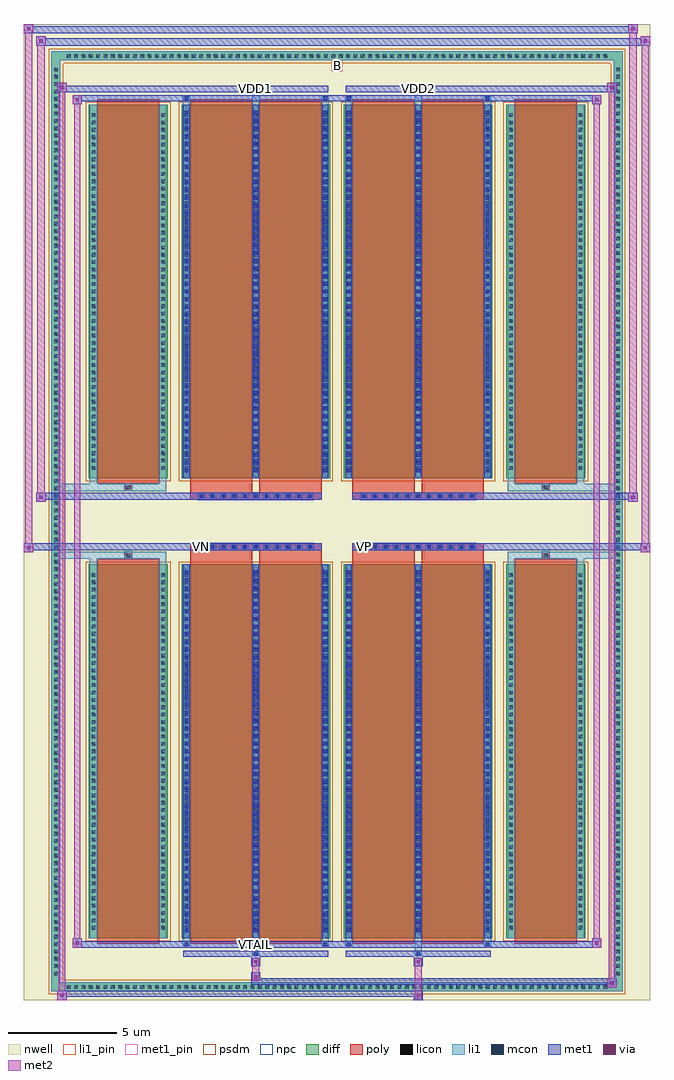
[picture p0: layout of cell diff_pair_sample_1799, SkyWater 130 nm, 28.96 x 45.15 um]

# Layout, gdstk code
import gdstk
lib = gdstk.Library(unit=1e-6, precision=5e-09)
def R(c, l, rs):  # rectangles x0, y0, x1, y1
    for r in rs: c.add(gdstk.rectangle(r[:2], r[2:], *l))
def A(c, l, x, y, w, h, nx, ny, dx, dy):  # array of equal rectangles
    R(c, l, [(x+i*dx, y+j*dy, x+i*dx+w, y+j*dy+h) for i in range(nx) for j in range(ny)])
def P(c, l, *ps):  # polygons
    for p in ps: c.add(gdstk.Polygon(p, *l))
nwell = (64, 20)
diff = (65, 20)
poly = (66, 20)
licon = (66, 44)
li1_pin = (67, 16)
li1 = (67, 20)
mcon = (67, 44)
met1_pin = (68, 16)
met1 = (68, 20)
via = (68, 44)
met2 = (69, 20)
psdm = (94, 20)
npc = (95, 20)

diff_pair_sample_1799 = lib.new_cell('diff_pair_sample_1799')
R(diff_pair_sample_1799, nwell, [(-14.48,-22.14,14.48,23.01), (-11.8,-20.33,-0.01,-0.805), (0.01,-20.33,11.8,-0.805), (-11.8,0.805,-0.01,20.33), (0.01,0.805,11.8,20.33)])
A(diff_pair_sample_1799, diff, -12.615, -21.74, 0.41, 0.41, 74, 2, 0.34, 43.07)
A(diff_pair_sample_1799, diff, -13.21, -21.115, 0.41, 0.41, 1, 124, 0, 0.34)
A(diff_pair_sample_1799, diff, 12.8, -21.115, 0.41, 0.41, 1, 124, 0, 0.34)
R(diff_pair_sample_1799, diff, [(-12.615,-21.74,12.615,-21.33), (-13.21,-21.115,-12.8,21.115), (12.8,-21.115,13.21,21.115), (-11.49,-19.285,-7.83,-1.985), (-7.19,-19.285,-0.32,-1.985), (0.32,-19.285,7.19,-1.985), (7.83,-19.285,11.49,-1.985), (-11.49,1.985,-7.83,19.285), (-7.19,1.985,-0.32,19.285), (0.32,1.985,7.19,19.285), (7.83,1.985,11.49,19.285), (-12.615,21.33,12.615,21.74)])
P(diff_pair_sample_1799, diff, [(13.21,21.74),(-13.21,21.74),(-13.21,-21.33),(-12.8,-21.33),(-12.8,21.33),(12.8,21.33),(12.8,-21.33),(-12.8,-21.33),(-13.21,-21.33),(-13.21,-21.74),(13.21,-21.74)])
A(diff_pair_sample_1799, poly, -6.42, -1.335, 0.33, 0.33, 11, 2, 0.5, 2.34)
A(diff_pair_sample_1799, poly, 1.09, -1.335, 0.33, 0.33, 11, 2, 0.5, 2.34)
R(diff_pair_sample_1799, poly, [(-11.1,-19.535,-8.22,-1.735), (-6.8,-19.535,-3.92,-1.735), (-3.59,-19.535,-0.71,-1.735), (0.71,-19.535,3.59,-1.735), (3.92,-19.535,6.8,-1.735), (8.22,-19.535,11.1,-1.735), (-9.825,-1.735,-9.495,-1.405), (-9.825,-1.735,-9.495,-1.405), (-6.8,-1.735,-3.92,-1.335), (-3.59,-1.735,-0.71,-1.335), (0.71,-1.735,3.59,-1.335), (3.92,-1.735,6.8,-1.335), (9.495,-1.735,9.825,-1.405), (9.495,-1.735,9.825,-1.405), (-6.8,-1.335,-0.71,-1.005), (0.71,-1.335,6.8,-1.005), (-6.8,1.005,-0.71,1.335), (0.71,1.005,6.8,1.335), (-6.8,1.335,-3.92,1.735), (-3.59,1.335,-0.71,1.735), (0.71,1.335,3.59,1.735), (3.92,1.335,6.8,1.735), (-9.825,1.405,-9.495,1.735), (-9.825,1.405,-9.495,1.735), (9.495,1.405,9.825,1.735), (9.495,1.405,9.825,1.735), (-11.1,1.735,-8.22,19.535), (-6.8,1.735,-3.92,19.535), (-3.59,1.735,-0.71,19.535), (0.71,1.735,3.59,19.535), (3.92,1.735,6.8,19.535), (8.22,1.735,11.1,19.535)])
A(diff_pair_sample_1799, licon, -12.495, -21.62, 0.17, 0.17, 74, 2, 0.34, 43.07)
A(diff_pair_sample_1799, licon, -13.09, -20.995, 0.17, 0.17, 1, 124, 0, 0.34)
A(diff_pair_sample_1799, licon, 12.92, -20.995, 0.17, 0.17, 1, 124, 0, 0.34)
A(diff_pair_sample_1799, licon, -11.35, -18.88, 0.17, 0.17, 1, 49, 0, 0.34)
A(diff_pair_sample_1799, licon, -8.14, -18.88, 0.17, 0.17, 1, 49, 0, 0.34)
A(diff_pair_sample_1799, licon, -7.05, -18.88, 0.17, 0.17, 3, 49, 3.21, 0.34)
A(diff_pair_sample_1799, licon, 0.46, -18.88, 0.17, 0.17, 3, 49, 3.21, 0.34)
A(diff_pair_sample_1799, licon, 7.97, -18.88, 0.17, 0.17, 1, 49, 0, 0.34)
A(diff_pair_sample_1799, licon, 11.18, -18.88, 0.17, 0.17, 1, 49, 0, 0.34)
A(diff_pair_sample_1799, licon, -6.34, -1.255, 0.17, 0.17, 11, 2, 0.5, 2.34)
A(diff_pair_sample_1799, licon, 1.17, -1.255, 0.17, 0.17, 11, 2, 0.5, 2.34)
A(diff_pair_sample_1799, licon, -11.35, 2.39, 0.17, 0.17, 1, 49, 0, 0.34)
A(diff_pair_sample_1799, licon, -8.14, 2.39, 0.17, 0.17, 1, 49, 0, 0.34)
A(diff_pair_sample_1799, licon, -7.05, 2.39, 0.17, 0.17, 3, 49, 3.21, 0.34)
A(diff_pair_sample_1799, licon, 0.46, 2.39, 0.17, 0.17, 3, 49, 3.21, 0.34)
A(diff_pair_sample_1799, licon, 7.97, 2.39, 0.17, 0.17, 1, 49, 0, 0.34)
A(diff_pair_sample_1799, licon, 11.18, 2.39, 0.17, 0.17, 1, 49, 0, 0.34)
R(diff_pair_sample_1799, licon, [(-9.745,-1.655,-9.575,-1.485), (9.575,-1.655,9.745,-1.485), (-9.745,1.485,-9.575,1.655), (9.575,1.485,9.745,1.655)])
R(diff_pair_sample_1799, li1_pin, [(-0.25,20.83,0.25,21.33)])
A(diff_pair_sample_1799, li1, -12.575, -21.7, 0.33, 0.33, 74, 2, 0.34, 43.07)
A(diff_pair_sample_1799, li1, -13.17, -21.075, 0.33, 0.33, 1, 124, 0, 0.34)
A(diff_pair_sample_1799, li1, 12.84, -21.075, 0.33, 0.33, 1, 124, 0, 0.34)
A(diff_pair_sample_1799, li1, -7.13, -19.285, 0.33, 17.3, 3, 2, 3.21, 21.27)
A(diff_pair_sample_1799, li1, 0.38, -19.285, 0.33, 17.3, 3, 2, 3.21, 21.27)
A(diff_pair_sample_1799, li1, -7.05, -19, 0.17, 0.17, 3, 47, 3.21, 0.36)
A(diff_pair_sample_1799, li1, -7.05, -19, 0.17, 16.73, 3, 2, 3.21, 21.27)
A(diff_pair_sample_1799, li1, 0.46, -19, 0.17, 0.17, 3, 47, 3.21, 0.36)
A(diff_pair_sample_1799, li1, 0.46, -19, 0.17, 16.73, 3, 2, 3.21, 21.27)
A(diff_pair_sample_1799, li1, -11.43, -18.96, 0.33, 0.33, 1, 49, 0, 0.34)
A(diff_pair_sample_1799, li1, -8.22, -18.96, 0.33, 0.33, 1, 49, 0, 0.34)
A(diff_pair_sample_1799, li1, -7.13, -18.96, 0.33, 0.33, 3, 49, 3.21, 0.34)
A(diff_pair_sample_1799, li1, 0.38, -18.96, 0.33, 0.33, 3, 49, 3.21, 0.34)
A(diff_pair_sample_1799, li1, 7.89, -18.96, 0.33, 0.33, 1, 49, 0, 0.34)
A(diff_pair_sample_1799, li1, 11.1, -18.96, 0.33, 0.33, 1, 49, 0, 0.34)
A(diff_pair_sample_1799, li1, -6.42, -1.335, 0.33, 0.33, 11, 2, 0.5, 2.34)
A(diff_pair_sample_1799, li1, 1.09, -1.335, 0.33, 0.33, 11, 2, 0.5, 2.34)
A(diff_pair_sample_1799, li1, -7.05, 2.27, 0.17, 0.17, 3, 47, 3.21, 0.36)
A(diff_pair_sample_1799, li1, 0.46, 2.27, 0.17, 0.17, 3, 47, 3.21, 0.36)
A(diff_pair_sample_1799, li1, -11.43, 2.31, 0.33, 0.33, 1, 49, 0, 0.34)
A(diff_pair_sample_1799, li1, -8.22, 2.31, 0.33, 0.33, 1, 49, 0, 0.34)
A(diff_pair_sample_1799, li1, -7.13, 2.31, 0.33, 0.33, 3, 49, 3.21, 0.34)
A(diff_pair_sample_1799, li1, 0.38, 2.31, 0.33, 0.33, 3, 49, 3.21, 0.34)
A(diff_pair_sample_1799, li1, 7.89, 2.31, 0.33, 0.33, 1, 49, 0, 0.34)
A(diff_pair_sample_1799, li1, 11.1, 2.31, 0.33, 0.33, 1, 49, 0, 0.34)
R(diff_pair_sample_1799, li1, [(-13.21,-21.74,-12.8,-21.33), (-13.21,-21.74,-12.8,-21.33), (-12.8,-21.74,12.8,-21.33), (12.8,-21.74,13.21,-21.33), (12.8,-21.74,13.21,-21.33), (-13.21,-21.33,-12.8,21.33), (12.8,-21.33,13.21,21.33), (-3.92,-20.09,-3.59,-19.285), (-3.84,-20.09,-3.67,-19.92), (3.59,-20.09,3.92,-19.285), (3.67,-20.09,3.84,-19.92), (-7.13,-19.66,-6.8,-19.285), (-7.05,-19.66,-6.88,-19.49), (-0.71,-19.66,-0.38,-19.285), (-0.63,-19.66,-0.46,-19.49), (0.38,-19.66,0.71,-19.285), (0.46,-19.66,0.63,-19.49), (6.8,-19.66,7.13,-19.285), (6.88,-19.66,7.05,-19.49), (-11.43,-19.285,-11.1,-1.985), (-8.22,-19.285,-7.89,-1.985), (7.89,-19.285,8.22,-1.985), (11.1,-19.285,11.43,-1.985), (-11.43,-1.985,-11.1,-1.405), (-8.22,-1.985,-7.89,-1.405), (7.89,-1.985,8.22,-1.405), (11.1,-1.985,11.43,-1.405), (-13.21,-1.735,-9.825,-1.405), (-11.43,-1.735,-9.825,-1.405), (-9.825,-1.735,-9.495,-1.405), (-9.495,-1.735,-7.89,-1.405), (7.89,-1.735,9.495,-1.405), (9.495,-1.735,9.825,-1.405), (9.495,-1.735,13.21,-1.405), (9.825,-1.735,11.43,-1.405), (-13.21,1.405,-9.825,1.735), (-11.43,1.405,-9.825,1.735), (-11.43,1.405,-11.1,1.985), (-9.825,1.405,-9.495,1.735), (-9.495,1.405,-7.89,1.735), (-8.22,1.405,-7.89,1.985), (7.89,1.405,9.495,1.735), (7.89,1.405,8.22,1.985), (9.495,1.405,9.825,1.735), (9.495,1.405,13.21,1.735), (9.825,1.405,11.43,1.735), (11.1,1.405,11.43,1.985), (-11.43,1.985,-11.1,19.285), (-8.22,1.985,-7.89,19.285), (7.89,1.985,8.22,19.285), (11.1,1.985,11.43,19.285), (-7.13,19.285,-6.8,19.66), (-3.92,19.285,-3.59,20.09), (-0.71,19.285,-0.38,19.66), (0.38,19.285,0.71,19.66), (3.59,19.285,3.92,20.09), (6.8,19.285,7.13,19.66), (-7.05,19.49,-6.88,19.66), (-0.63,19.49,-0.46,19.66), (0.46,19.49,0.63,19.66), (6.88,19.49,7.05,19.66), (-3.84,19.92,-3.67,20.09), (3.67,19.92,3.84,20.09), (-13.21,21.33,-12.8,21.74), (-13.21,21.33,-12.8,21.74), (-12.8,21.33,12.8,21.74), (12.8,21.33,13.21,21.74), (12.8,21.33,13.21,21.74)])
A(diff_pair_sample_1799, mcon, -7.05, -19, 0.17, 0.17, 3, 47, 3.21, 0.36)
A(diff_pair_sample_1799, mcon, 0.46, -19, 0.17, 0.17, 3, 47, 3.21, 0.36)
A(diff_pair_sample_1799, mcon, -6.34, -1.255, 0.17, 0.17, 11, 2, 0.5, 2.34)
A(diff_pair_sample_1799, mcon, 1.17, -1.255, 0.17, 0.17, 11, 2, 0.5, 2.34)
A(diff_pair_sample_1799, mcon, -7.05, 2.27, 0.17, 0.17, 3, 47, 3.21, 0.36)
A(diff_pair_sample_1799, mcon, 0.46, 2.27, 0.17, 0.17, 3, 47, 3.21, 0.36)
R(diff_pair_sample_1799, mcon, [(-3.84,-20.09,-3.67,-19.92), (3.67,-20.09,3.84,-19.92), (-7.05,-19.66,-6.88,-19.49), (-0.63,-19.66,-0.46,-19.49), (0.46,-19.66,0.63,-19.49), (6.88,-19.66,7.05,-19.49), (-7.05,19.49,-6.88,19.66), (-0.63,19.49,-0.46,19.66), (0.46,19.49,0.63,19.66), (6.88,19.49,7.05,19.66), (-3.84,19.92,-3.67,20.09), (3.67,19.92,3.84,20.09)])
R(diff_pair_sample_1799, met1_pin, [(-3.89,-19.7,-3.62,-19.43), (-6.39,-1.295,-6.12,-1.025), (1.12,-1.295,1.39,-1.025), (-3.89,19.88,-3.62,20.15), (3.62,19.88,3.89,20.15)])
A(diff_pair_sample_1799, met1, -7.11, -19.285, 0.29, 17.3, 3, 2, 3.21, 21.27)
A(diff_pair_sample_1799, met1, 0.4, -19.285, 0.29, 17.3, 3, 2, 3.21, 21.27)
A(diff_pair_sample_1799, met1, -7.11, -19.06, 0.29, 0.29, 3, 47, 3.21, 0.36)
A(diff_pair_sample_1799, met1, 0.4, -19.06, 0.29, 0.29, 3, 47, 3.21, 0.36)
A(diff_pair_sample_1799, met1, -6.4, -1.315, 0.29, 0.29, 11, 2, 0.5, 2.34)
A(diff_pair_sample_1799, met1, 1.11, -1.315, 0.29, 0.29, 11, 2, 0.5, 2.34)
A(diff_pair_sample_1799, met1, -7.11, 2.21, 0.29, 0.29, 3, 47, 3.21, 0.36)
A(diff_pair_sample_1799, met1, 0.4, 2.21, 0.29, 0.29, 3, 47, 3.21, 0.36)
R(diff_pair_sample_1799, met1, [(-12.94,-22.14,-12.51,-21.71), (3.54,-22.14,3.97,-21.71), (-12.94,-22,3.97,-21.71), (12.51,-21.57,12.94,-21.14), (-3.97,-21.43,12.94,-21.14), (-3.97,-21.29,-3.54,-20.86), (-3.97,-20.58,-3.54,-20.15), (3.54,-20.58,3.97,-20.15), (-7.11,-20.15,-0.4,-19.86), (-3.9,-20.15,-3.61,-19.86), (0.4,-20.15,7.11,-19.86), (3.61,-20.15,3.9,-19.86), (-12.23,-19.72,-11.8,-19.29), (-12.23,-19.72,-7.11,-19.43), (-7.11,-19.72,-6.82,-19.43), (-7.11,-19.72,-0.4,-19.43), (-0.69,-19.72,-0.4,-19.43), (-0.4,-19.72,0.4,-19.43), (0.4,-19.72,0.69,-19.43), (0.4,-19.72,7.11,-19.43), (6.82,-19.72,7.11,-19.43), (7.11,-19.72,12.23,-19.43), (11.8,-19.72,12.23,-19.29), (-14.48,-1.435,-14.05,-1.005), (14.05,-1.435,14.48,-1.005), (-14.48,-1.335,-0.71,-1.005), (-6.8,-1.335,-0.71,-1.005), (0.71,-1.335,6.8,-1.005), (0.71,-1.335,14.48,-1.005), (-13.91,0.905,-13.48,1.335), (13.48,0.905,13.91,1.335), (-13.91,1.005,-6.8,1.335), (-6.8,1.005,-0.71,1.335), (0.71,1.005,6.8,1.335), (6.8,1.005,13.91,1.335), (-12.23,19.29,-11.8,19.72), (11.8,19.29,12.23,19.72), (-12.23,19.43,-7.11,19.72), (-7.11,19.43,-6.82,19.72), (-7.11,19.43,-0.4,19.72), (-0.69,19.43,-0.4,19.72), (-0.4,19.43,0.4,19.72), (0.4,19.43,0.69,19.72), (0.4,19.43,7.11,19.72), (6.82,19.43,7.11,19.72), (7.11,19.43,12.23,19.72), (-12.94,19.86,-12.51,20.29), (-12.94,19.86,-7.11,20.15), (-7.11,19.86,-0.4,20.15), (-3.9,19.86,-3.61,20.15), (0.4,19.86,7.11,20.15), (3.61,19.86,3.9,20.15), (7.11,19.86,12.94,20.15), (12.51,19.86,12.94,20.29), (-13.91,22.01,-13.48,22.44), (-13.91,22.01,-11.8,22.34), (-11.8,22.01,11.8,22.34), (11.8,22.01,14.48,22.34), (14.05,22.01,14.48,22.44), (-14.48,22.58,-14.05,23.01), (-14.48,22.58,-11.8,22.91), (-11.8,22.58,11.8,22.91), (11.8,22.58,13.91,22.91), (13.48,22.58,13.91,23.01)])
R(diff_pair_sample_1799, via, [(-12.8,-22,-12.65,-21.85), (3.68,-22,3.83,-21.85), (12.65,-21.43,12.8,-21.28), (-3.83,-21.15,-3.68,-21), (-3.83,-20.44,-3.68,-20.29), (3.68,-20.44,3.83,-20.29), (-12.09,-19.58,-11.94,-19.43), (11.94,-19.58,12.09,-19.43), (-14.34,-1.295,-14.19,-1.145), (14.19,-1.295,14.34,-1.145), (-13.77,1.045,-13.62,1.195), (13.62,1.045,13.77,1.195), (-12.09,19.43,-11.94,19.58), (11.94,19.43,12.09,19.58), (-12.8,20,-12.65,20.15), (12.65,20,12.8,20.15), (-13.77,22.15,-13.62,22.3), (14.19,22.15,14.34,22.3), (-14.34,22.72,-14.19,22.87), (13.62,22.72,13.77,22.87)])
R(diff_pair_sample_1799, met2, [(-12.94,-22.14,-12.51,-21.71), (-12.87,-22.14,-12.58,20.29), (-12.58,-22.14,-12.51,-21.71), (-12.89,-22.09,-12.56,-21.76), (3.59,-22.09,3.92,-21.76), (3.59,-21.76,3.92,-20.53), (12.51,-21.57,12.94,-21.14), (12.58,-21.57,12.87,20.29), (12.87,-21.57,12.94,-21.14), (12.56,-21.52,12.89,-21.19), (-3.92,-21.24,-3.59,-20.91), (-3.92,-20.91,-3.59,-20.53), (-3.92,-20.53,-3.59,-20.2), (3.59,-20.53,3.92,-20.2), (-12.23,-19.72,-11.8,-19.29), (-12.16,-19.72,-11.87,19.72), (-11.87,-19.72,-11.8,-19.29), (11.8,-19.72,12.23,-19.29), (11.87,-19.72,12.16,19.72), (12.16,-19.72,12.23,-19.29), (-12.18,-19.67,-11.85,-19.34), (11.85,-19.67,12.18,-19.34), (-14.48,-1.435,-14.05,-1.005), (-14.43,-1.435,-14.1,23.01), (-14.1,-1.435,-14.05,-1.005), (14.05,-1.435,14.48,-1.005), (14.1,-1.435,14.43,22.44), (14.43,-1.435,14.48,-1.005), (-14.43,-1.385,-14.1,-1.055), (14.1,-1.385,14.43,-1.055), (-13.91,0.905,-13.48,1.335), (-13.86,0.905,-13.53,22.44), (-13.53,0.905,-13.48,1.335), (13.48,0.905,13.91,1.335), (13.53,0.905,13.86,23.01), (13.86,0.905,13.91,1.335), (-13.86,0.955,-13.53,1.285), (13.53,0.955,13.86,1.285), (-12.23,19.29,-11.8,19.72), (-11.87,19.29,-11.8,19.72), (11.8,19.29,12.23,19.72), (12.16,19.29,12.23,19.72), (-12.18,19.34,-11.85,19.67), (11.85,19.34,12.18,19.67), (-12.94,19.86,-12.51,20.29), (-12.58,19.86,-12.51,20.29), (12.51,19.86,12.94,20.29), (12.87,19.86,12.94,20.29), (-12.89,19.91,-12.56,20.24), (12.56,19.91,12.89,20.24), (-13.91,22.01,-13.48,22.44), (-13.53,22.01,-13.48,22.44), (14.05,22.01,14.48,22.44), (14.43,22.01,14.48,22.44), (-13.86,22.06,-13.53,22.39), (14.1,22.06,14.43,22.39), (-14.48,22.58,-14.05,23.01), (-14.1,22.58,-14.05,23.01), (13.48,22.58,13.91,23.01), (13.86,22.58,13.91,23.01), (-14.43,22.63,-14.1,22.96), (13.53,22.63,13.86,22.96)])
R(diff_pair_sample_1799, psdm, [(-11.62,-19.415,-7.7,-1.855), (-7.32,-19.415,-0.19,-1.855), (0.19,-19.415,7.32,-1.855), (7.7,-19.415,11.62,-1.855), (-11.62,1.855,-7.7,19.415), (-7.32,1.855,-0.19,19.415), (0.19,1.855,7.32,19.415), (7.7,1.855,11.62,19.415)])
P(diff_pair_sample_1799, psdm, [(13.34,21.87),(-13.34,21.87),(-13.34,-21.2),(-12.67,-21.2),(-12.67,21.2),(12.67,21.2),(12.67,-21.2),(-12.67,-21.2),(-13.34,-21.2),(-13.34,-21.87),(13.34,-21.87)])
A(diff_pair_sample_1799, npc, -6.44, -1.355, 0.37, 0.37, 11, 2, 0.5, 2.34)
A(diff_pair_sample_1799, npc, 1.07, -1.355, 0.37, 0.37, 11, 2, 0.5, 2.34)
R(diff_pair_sample_1799, npc, [(-9.845,-1.755,-9.475,-1.385), (9.475,-1.755,9.845,-1.385), (-6.44,-1.355,-5.57,-0.985), (-6.44,-1.355,-5.57,-0.985), (-5.94,-1.355,-5.07,-0.985), (-5.94,-1.355,-5.07,-0.985), (-5.44,-1.355,-4.57,-0.985), (-5.44,-1.355,-4.57,-0.985), (-4.94,-1.355,-4.07,-0.985), (-4.94,-1.355,-4.07,-0.985), (-4.44,-1.355,-3.57,-0.985), (-4.44,-1.355,-3.57,-0.985), (-3.94,-1.355,-3.07,-0.985), (-3.94,-1.355,-3.07,-0.985), (-3.44,-1.355,-2.57,-0.985), (-3.44,-1.355,-2.57,-0.985), (-2.94,-1.355,-2.07,-0.985), (-2.94,-1.355,-2.07,-0.985), (-2.44,-1.355,-1.57,-0.985), (-2.44,-1.355,-1.57,-0.985), (-1.94,-1.355,-1.07,-0.985), (-1.94,-1.355,-1.07,-0.985), (1.07,-1.355,1.94,-0.985), (1.07,-1.355,1.94,-0.985), (1.57,-1.355,2.44,-0.985), (1.57,-1.355,2.44,-0.985), (2.07,-1.355,2.94,-0.985), (2.07,-1.355,2.94,-0.985), (2.57,-1.355,3.44,-0.985), (2.57,-1.355,3.44,-0.985), (3.07,-1.355,3.94,-0.985), (3.07,-1.355,3.94,-0.985), (3.57,-1.355,4.44,-0.985), (3.57,-1.355,4.44,-0.985), (4.07,-1.355,4.94,-0.985), (4.07,-1.355,4.94,-0.985), (4.57,-1.355,5.44,-0.985), (4.57,-1.355,5.44,-0.985), (5.07,-1.355,5.94,-0.985), (5.07,-1.355,5.94,-0.985), (5.57,-1.355,6.44,-0.985), (5.57,-1.355,6.44,-0.985), (-6.44,0.985,-5.57,1.355), (-6.44,0.985,-5.57,1.355), (-5.94,0.985,-5.07,1.355), (-5.94,0.985,-5.07,1.355), (-5.44,0.985,-4.57,1.355), (-5.44,0.985,-4.57,1.355), (-4.94,0.985,-4.07,1.355), (-4.94,0.985,-4.07,1.355), (-4.44,0.985,-3.57,1.355), (-4.44,0.985,-3.57,1.355), (-3.94,0.985,-3.07,1.355), (-3.94,0.985,-3.07,1.355), (-3.44,0.985,-2.57,1.355), (-3.44,0.985,-2.57,1.355), (-2.94,0.985,-2.07,1.355), (-2.94,0.985,-2.07,1.355), (-2.44,0.985,-1.57,1.355), (-2.44,0.985,-1.57,1.355), (-1.94,0.985,-1.07,1.355), (-1.94,0.985,-1.07,1.355), (1.07,0.985,1.94,1.355), (1.07,0.985,1.94,1.355), (1.57,0.985,2.44,1.355), (1.57,0.985,2.44,1.355), (2.07,0.985,2.94,1.355), (2.07,0.985,2.94,1.355), (2.57,0.985,3.44,1.355), (2.57,0.985,3.44,1.355), (3.07,0.985,3.94,1.355), (3.07,0.985,3.94,1.355), (3.57,0.985,4.44,1.355), (3.57,0.985,4.44,1.355), (4.07,0.985,4.94,1.355), (4.07,0.985,4.94,1.355), (4.57,0.985,5.44,1.355), (4.57,0.985,5.44,1.355), (5.07,0.985,5.94,1.355), (5.07,0.985,5.94,1.355), (5.57,0.985,6.44,1.355), (5.57,0.985,6.44,1.355), (-9.845,1.385,-9.475,1.755), (9.475,1.385,9.845,1.755)])
diff_pair_sample_1799.add(gdstk.Label('VTAIL', (-3.755,-19.565), layer=68, texttype=5))
diff_pair_sample_1799.add(gdstk.Label('VN', (-6.255,-1.16), layer=68, texttype=5))
diff_pair_sample_1799.add(gdstk.Label('VP', (1.255,-1.16), layer=68, texttype=5))
diff_pair_sample_1799.add(gdstk.Label('B', (0,21.08), layer=67, texttype=5))
diff_pair_sample_1799.add(gdstk.Label('VDD2', (3.755,20.015), layer=68, texttype=5))
diff_pair_sample_1799.add(gdstk.Label('VDD1', (-3.755,20.015), layer=68, texttype=5))

lib.write_gds('diff_pair_sample_1799.gds')
